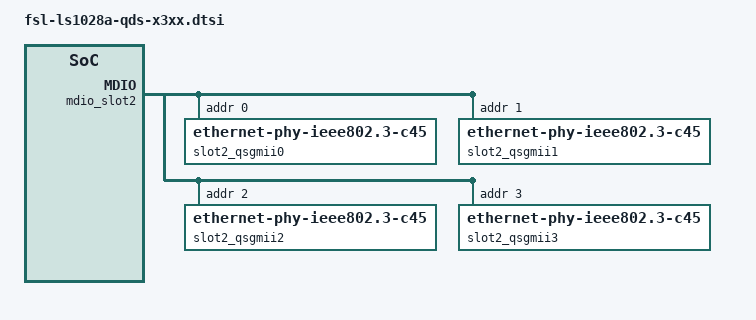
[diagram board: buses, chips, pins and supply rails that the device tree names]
// SPDX-License-Identifier: (GPL-2.0+ OR MIT)
/*
 * Device Tree Include file for LS1028A QDS board, serdes x3xx
 *
 * Copyright 2019 NXP
 *
 */

&mdio_slot2 {
	/* 4 ports on AQR412 */
	slot2_qsgmii0: ethernet-phy@0 {
		reg = <0x0>;
		compatible = "ethernet-phy-ieee802.3-c45";
	};
	slot2_qsgmii1: ethernet-phy@1 {
		reg = <0x1>;
		compatible = "ethernet-phy-ieee802.3-c45";
	};
	slot2_qsgmii2: ethernet-phy@2 {
		reg = <0x2>;
		compatible = "ethernet-phy-ieee802.3-c45";
	};
	slot2_qsgmii3: ethernet-phy@3 {
		reg = <0x3>;
		compatible = "ethernet-phy-ieee802.3-c45";
	};
};

/* l2switch ports */
&switch_port0 {
	phy-handle = <&slot2_qsgmii0>;
	phy-connection-type = "usxgmii";
};

&switch_port1 {
	phy-handle = <&slot2_qsgmii1>;
	phy-connection-type = "usxgmii";
};

&switch_port2 {
	phy-handle = <&slot2_qsgmii2>;
	phy-connection-type = "usxgmii";
};

&switch_port3 {
	phy-handle = <&slot2_qsgmii3>;
	phy-connection-type = "usxgmii";
};
